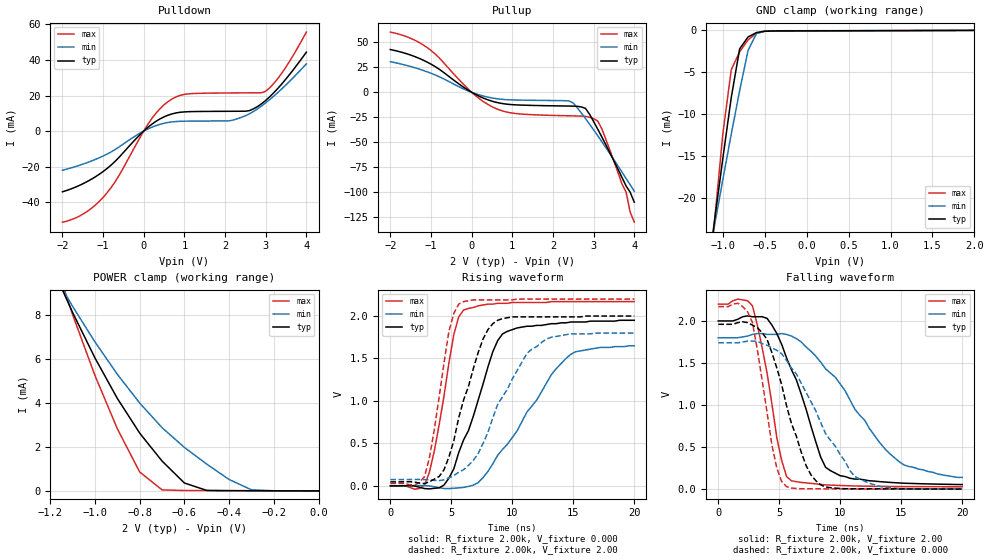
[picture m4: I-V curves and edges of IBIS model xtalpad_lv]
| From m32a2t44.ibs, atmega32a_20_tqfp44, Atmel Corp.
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|   Model xtalpad_lv
[Model]   xtalpad_lv
Model_type   I/O
Polarity   Non-Inverting
Enable   Active-High
Vinl =   0.60V
Vinh =   1.40V
Vmeas =   1.00V
Cref =  50.00pF
C_comp   4.24pF   4.24pF   4.63pF
[Temperature Range]   27.00   0.12k   -55.00
[Voltage Range]   2.00V   1.80V   2.20V
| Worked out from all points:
|   slope of the pulldown table from 0 to 0.3 V, typ, clamps not added: 55.2 ohm
|   slope of the pullup table from 0 to 0.3 V, typ, clamps not added: 49.8 ohm
|   GND clamp passes 1 mA (typ) near -0.71 V on its own axis
|   POWER clamp passes 1 mA (typ) near -0.66 V on its own axis
|   rising waveform, R_fixture 2.00k, V_fixture 0.000: 20-80 % time 2.76ns typ, 4.58ns min, 1.52ns max; typ from 0 V to 1.95 V
|   rising waveform, R_fixture 2.00k, V_fixture 2.00: 20-80 % time 2.29ns typ, 3.45ns min, 1.38ns max; typ from 0.047 V to 2 V
|   falling waveform, R_fixture 2.00k, V_fixture 2.00: 20-80 % time 2.79ns typ, 5.11ns min, 1.54ns max; typ from 2 V to 0.055 V
|   falling waveform, R_fixture 2.00k, V_fixture 0.000: 20-80 % time 2.4ns typ, 4.02ns min, 1.42ns max; typ from 1.96 V to 0.001 V
[Pulldown]
| voltage   I(typ)   I(min)   I(max)
-2V       -34.12mA   -22.01mA   -51.2mA
-1.4V     -28.46mA   -17.78mA   -45.3mA
-1V       -22.73mA   -14.01mA   -37.27mA
-600mV    -14.55mA   -8.8mA     -24.63mA
100mV     2.09mA     1.19mA     3.78mA
600mV     8.96mA     4.86mA     16.62mA
1V        10.79mA    5.57mA     20.65mA
2.1V      11.13mA    5.75mA     21.43mA
2.6V      11.51mA    9.72mA     21.51mA
3V        17.24mA    15.87mA    22.39mA
3.4V      26.62mA    23.83mA    32.71mA
4V        44.35mA    37.79mA    55.65mA
[Pullup]
| voltage   I(typ)   I(min)   I(max)
-2V       42.79mA    30.6mA     60.26mA
-1.1V     30.32mA    20.57mA    44.92mA
0V        0A         0A         0A
600mV     -10mA      -6.32mA    -16.31mA
1.1V      -12.61mA   -7.75mA    -21.34mA
2.4V      -13.77mA   -8.73mA    -23.52mA
2.8V      -16.11mA   -26.26mA   -24.11mA
3.1V      -36.8mA    -43.39mA   -28.68mA
3.2V      -44.53mA   -49.31mA   -36.36mA
3.8V      -93.85mA   -86.29mA   -100mA
3.9V      -100mA     -92.62mA   -120mA
4V        -110mA     -98.99mA   -130mA
[GND_clamp]
| voltage   I(typ)   I(min)   I(max)
-2V       -96.58mA   -77.54mA   -130mA
-1.2V     -30.46mA   -29.03mA   -33.69mA
-1.1V     -22.77mA   -23.34mA   -22.85mA
-1V       -15.26mA   -17.79mA   -12.32mA
-900mV    -8.02mA    -12.4mA    -4.7mA
-800mV    -2.21mA    -7.21mA    -2.56mA
-700mV    -790uA     -2.41mA    -1.14mA
-600mV    -260uA     -390uA     -350uA
-500mV    -98.35uA   -96.47uA   -110uA
2V        52.86pA    7.37uA     -6.18uA
[POWER_clamp]
| voltage   I(typ)   I(min)   I(max)
-2V       33.07mA    27.15mA    42.54mA
-1.2V     10.38mA    10.13mA    11.12mA
-1.1V     8.12mA     8.4mA      8.02mA
-1V       6.05mA     6.78mA     5.25mA
-900mV    4.21mA     5.31mA     2.83mA
-800mV    2.63mA     4mA        860uA
-700mV    1.36mA     2.88mA     46.5uA
-600mV    360uA      1.98mA     19.47uA
-500mV    22.74uA    1.22mA     15.49uA
-400mV    11.65uA    520uA      12.38uA
-300mV    8.59uA     50.31uA    9.28uA
0V        53.08pA    1.68nA     17.78pA
[Ramp]
| variable   typ   min   max
dV/dt_r   1.17/2.71n   0.99/4.43n   1.30/1.49n
dV/dt_f   1.17/2.75n   1.00/4.98n   1.30/1.51n
R_load = 2.00k
[Rising Waveform]
R_fixture = 2.00k
V_fixture = 0.000
V_fixture_min = 0.000
V_fixture_max = 0.000
| time   V(typ)   V(min)   V(max)
0s        0V         540nV      0V
2.8ns     -32.09mV   2.44mV     10.34mV
3.6ns     -29.14mV   -10.87mV   410mV
4.4ns     9.43mV     -31.82mV   1.06V
5.2ns     200mV      -28.16mV   1.78V
6ns       540mV      -18.56mV   2.07V
7.2ns     1.01V      38.46mV    2.12V
9.2ns     1.79V      430mV      2.15V
14.8ns    1.93V      1.55V      2.17V
20ns      1.95V      1.65V      2.17V
[Rising Waveform]
R_fixture = 2.00k
V_fixture = 2.00
V_fixture_min = 1.80
V_fixture_max = 2.20
| time   V(typ)   V(min)   V(max)
0s        46.62mV    73.87mV    28.11mV
2.8ns     27.21mV    74.04mV    110mV
4.4ns     190mV      70.6mV     1.45V
4.8ns     340mV      94.45mV    1.82V
5.6ns     800mV      160mV      2.14V
7.6ns     1.73V      500mV      2.19V
8.8ns     1.95V      960mV      2.19V
11.2ns    1.99V      1.56V      2.2V
12.8ns    1.99V      1.73V      2.2V
20ns      2V         1.8V       2.2V
[Falling Waveform]
R_fixture = 2.00k
V_fixture = 2.00
V_fixture_min = 1.80
V_fixture_max = 2.20
| time   V(typ)   V(min)   V(max)
0s        2V         1.8V       2.2V
2.8ns     2.05V      1.84V      2.18V
4ns       2.03V      1.84V      1.38V
4.8ns     1.85V      1.84V      610mV
5.2ns     1.72V      1.85V      340mV
6ns       1.42V      1.82V      100mV
8.4ns     380mV      1.51V      56.59mV
9.2ns     220mV      1.38V      48.35mV
14.8ns    74.14mV    330mV      31.25mV
20ns      55.02mV    140mV      28.71mV
[Falling Waveform]
R_fixture = 2.00k
V_fixture = 0.000
V_fixture_min = 0.000
V_fixture_max = 0.000
| time   V(typ)   V(min)   V(max)
0s        1.96V      1.74V      2.17V
1.6ns     1.98V      1.74V      2.21V
2.8ns     1.95V      1.76V      1.98V
4.4ns     1.62V      1.68V      520mV
4.8ns     1.44V      1.65V      250mV
5.6ns     990mV      1.53V      30.43mV
7.6ns     170mV      1.04V      5.2mV
8.8ns     26.18mV    660mV      3.7mV
11.2ns    4.71mV     150mV      2.13mV
20ns      1.31mV     3.86mV     180uV
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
